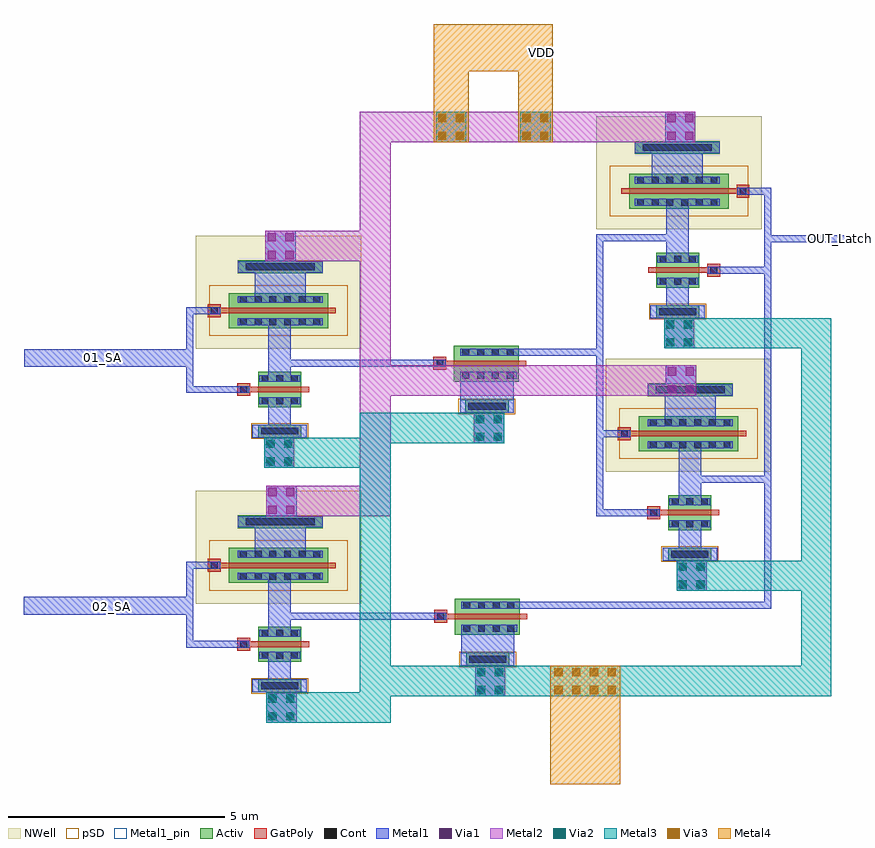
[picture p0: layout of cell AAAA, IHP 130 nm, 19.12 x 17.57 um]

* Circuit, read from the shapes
.subckt AAAA 01_SA 02_SA OUT_Latch VDD VSS
XM1 n1 02_SA VSS VSS sg13_lv_nmos w=1u l=0.13u
XM2 n2 01_SA VSS VSS sg13_lv_nmos w=1u l=0.13u
XM3 n3 n2 VSS VSS sg13_lv_nmos w=1.5u l=0.13u
XM4 OUT_Latch n1 VSS VSS sg13_lv_nmos w=1.5u l=0.13u
XM5 n3 OUT_Latch VSS VSS sg13_lv_nmos w=1u l=0.13u
XM6 OUT_Latch n3 VSS VSS sg13_lv_nmos w=1u l=0.13u
XM7 VDD 02_SA n1 VDD sg13_lv_pmos w=2.3u l=0.13u
XM8 VDD 01_SA n2 VDD sg13_lv_pmos w=2.3u l=0.13u
XM9 VDD OUT_Latch n3 VDD sg13_lv_pmos w=2.3u l=0.13u
XM10 VDD n3 OUT_Latch VDD sg13_lv_pmos w=2.3u l=0.13u
.ends

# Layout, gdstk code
from math import pi, radians
import gdstk
lib = gdstk.Library(unit=1e-6, precision=1e-09)
def R(c, l, rs):  # rectangles x0, y0, x1, y1
    for r in rs: c.add(gdstk.rectangle(r[:2], r[2:], *l))
def A(c, l, x, y, w, h, nx, ny, dx, dy):  # array of equal rectangles
    R(c, l, [(x+i*dx, y+j*dy, x+i*dx+w, y+j*dy+h) for i in range(nx) for j in range(ny)])
Activ = (1, 0)
GatPoly = (5, 0)
Cont = (6, 0)
Metal1 = (8, 0)
Metal1_pin = (8, 2)
Metal2 = (10, 0)
pSD = (14, 0)
Via1 = (19, 0)
Via2 = (29, 0)
Metal3 = (30, 0)
NWell = (31, 0)
Via3 = (49, 0)
Metal4 = (50, 0)

inv_cell = lib.new_cell('INV_CELL')
R(inv_cell, Activ, [(-2.1,2.04,-1.29,4.34), (-0.835,2.17,-0.535,4.13), (-0.835,2.17,-0.535,4.13), (-4.63,2.66,-4.33,3.66), (-3.925,2.66,-3.115,3.66)])
R(inv_cell, GatPoly, [(-1.76,1.86,-1.63,4.52), (-3.585,2.48,-3.455,3.84), (-3.67,3.84,-3.37,4.14), (-1.845,4.52,-1.545,4.82)])
A(inv_cell, Cont, -2.03, 2.22, 0.16, 0.16, 1, 4, 0, 0.34)
A(inv_cell, Cont, -1.52, 2.22, 0.16, 0.16, 1, 4, 0, 0.34)
A(inv_cell, Cont, -3.855, 2.74, 0.16, 0.16, 1, 3, 0, 0.34)
A(inv_cell, Cont, -3.345, 2.74, 0.16, 0.16, 1, 3, 0, 0.34)
A(inv_cell, Cont, -2.03, 3.24, 0.16, 0.16, 1, 3, 0, 0.34)
A(inv_cell, Cont, -1.52, 3.24, 0.16, 0.16, 1, 3, 0, 0.34)
R(inv_cell, Cont, [(-2.03,2.22,-1.87,2.38), (-1.52,2.22,-1.36,2.38), (-0.765,2.35,-0.605,3.95), (-0.765,2.35,-0.605,3.95), (-4.56,2.73,-4.4,3.59), (-3.855,3.42,-3.695,3.58), (-3.345,3.42,-3.185,3.58), (-3.6,3.91,-3.44,4.07), (-1.775,4.59,-1.615,4.75)])
R(inv_cell, Metal1, [(-2.03,2.17,-1.87,3.24), (-1.52,2.17,-1.36,3.24), (-0.815,2.17,-0.555,4.13), (-0.815,2.17,-0.555,4.13), (-4.63,2.53,-4.33,3.79), (-1.36,2.56,-0.815,3.74), (-3.855,2.69,-3.695,3.63), (-3.345,2.69,-3.185,3.63), (-4.33,2.9,-3.855,3.42), (-3.185,2.9,-2.03,3.42), (-2.03,3.19,-1.87,4.13), (-1.52,3.19,-1.36,4.13), (-3.6,3.86,-3.44,5.32), (-1.775,4.54,-1.615,5.32), (-3.6,5.16,-1.775,5.32)])
R(inv_cell, Metal1_pin, [(-4.63,2.53,-4.33,3.79)])
R(inv_cell, pSD, [(-2.28,1.59,-1.11,4.79), (-4.66,2.5,-4.3,3.82)])
R(inv_cell, NWell, [(-2.58,1.28,0.035,5.1)])

nmos_switch = lib.new_cell('nmos_switch')
R(nmos_switch, Activ, [(-1.115,-0.12,-0.285,1.38), (-1.835,0.115,-1.535,1.115)])
R(nmos_switch, GatPoly, [(-0.755,-0.3,-0.625,1.56), (-0.84,1.55,-0.54,1.85)])
A(nmos_switch, Cont, -1.045, 0, 0.16, 0.16, 1, 4, 0, 0.34)
A(nmos_switch, Cont, -0.515, 0, 0.16, 0.16, 1, 4, 0, 0.34)
R(nmos_switch, Cont, [(-1.765,0.185,-1.605,1.045), (-1.045,1.02,-0.885,1.18), (-0.515,1.02,-0.355,1.18), (-0.77,1.62,-0.61,1.78)])
R(nmos_switch, Metal1, [(-1.045,-0.07,-0.885,1.23), (-0.515,-0.07,-0.355,1.23), (-1.835,0,-1.535,1.235), (-1.535,0,-1.045,1.23), (-0.77,1.57,-0.61,5.165)])
R(nmos_switch, Metal1_pin, [(-1.835,0,-1.535,1.235)])
R(nmos_switch, pSD, [(-1.865,-0.045,-1.505,1.275)])

sr_latch = lib.new_cell('SR_LATCH')
R(sr_latch, Metal1, [(0.72,-5.005,1.42,-4.305), (0.72,-5.005,1.42,-4.305), (5.545,-4.395,6.245,-3.695), (5.545,-4.395,6.245,-3.695), (6.525,-2.375,12.39,-2.215), (12.23,-2.375,12.39,5.375), (10.205,-1.96,10.905,-1.26), (10.205,-1.96,10.905,-1.26), (0.72,-0.23,1.42,0.47), (0.72,-0.23,1.42,0.47), (10.77,0.545,12.28,0.705), (0.67,0.885,1.37,1.585), (0.67,0.885,1.37,1.585), (5.515,1.455,6.215,2.155), (5.515,1.455,6.215,2.155), (8.35,1.64,8.51,6.285), (9.955,2.555,10.655,3.255), (9.955,2.555,10.655,3.255), (6.5,3.475,8.35,3.635), (6.5,3.475,8.35,3.635), (9.915,3.645,10.615,4.345), (9.915,3.645,10.615,4.345), (0.7,5.66,1.4,6.36), (0.7,5.66,1.4,6.36), (8.46,6.125,9.97,6.285), (9.94,8.415,10.64,9.115), (9.94,8.415,10.64,9.115)])
R(sr_latch, Metal2, [(0.72,-5.005,1.42,-4.305), (0.72,-5.005,1.42,-4.305), (5.545,-4.395,6.245,-3.695), (5.545,-4.395,6.245,-3.695), (10.205,-1.96,10.905,-1.26), (10.205,-1.96,10.905,-1.26), (0.72,-0.23,1.42,0.47), (0.72,-0.23,3.6,0.47), (2.875,-0.23,3.6,9.115), (0.67,0.885,1.37,1.585), (0.67,0.885,1.37,1.585), (5.515,1.455,6.215,2.155), (5.515,1.455,6.215,2.155), (3.6,2.555,10.655,3.255), (9.955,2.555,10.655,3.255), (9.915,3.645,10.615,4.345), (9.915,3.645,10.615,4.345), (0.7,5.66,1.4,6.36), (0.7,5.66,3.6,6.36), (2.93,8.415,10.64,9.115), (9.94,8.415,10.64,9.115)])
R(sr_latch, Via1, [(0.77,-4.955,0.96,-4.765), (0.77,-4.955,0.96,-4.765), (1.18,-4.955,1.37,-4.765), (1.18,-4.955,1.37,-4.765), (0.77,-4.545,0.96,-4.355), (0.77,-4.545,0.96,-4.355), (1.18,-4.545,1.37,-4.355), (1.18,-4.545,1.37,-4.355), (5.595,-4.345,5.785,-4.155), (5.595,-4.345,5.785,-4.155), (6.005,-4.345,6.195,-4.155), (6.005,-4.345,6.195,-4.155), (5.595,-3.935,5.785,-3.745), (5.595,-3.935,5.785,-3.745), (6.005,-3.935,6.195,-3.745), (6.005,-3.935,6.195,-3.745), (10.255,-1.91,10.445,-1.72), (10.255,-1.91,10.445,-1.72), (10.665,-1.91,10.855,-1.72), (10.665,-1.91,10.855,-1.72), (10.255,-1.5,10.445,-1.31), (10.255,-1.5,10.445,-1.31), (10.665,-1.5,10.855,-1.31), (10.665,-1.5,10.855,-1.31), (0.77,-0.18,0.96,0.01), (0.77,-0.18,0.96,0.01), (1.18,-0.18,1.37,0.01), (1.18,-0.18,1.37,0.01), (0.77,0.23,0.96,0.42), (0.77,0.23,0.96,0.42), (1.18,0.23,1.37,0.42), (1.18,0.23,1.37,0.42), (0.72,0.935,0.91,1.125), (0.72,0.935,0.91,1.125), (1.13,0.935,1.32,1.125), (1.13,0.935,1.32,1.125), (0.72,1.345,0.91,1.535), (0.72,1.345,0.91,1.535), (1.13,1.345,1.32,1.535), (1.13,1.345,1.32,1.535), (5.565,1.505,5.755,1.695), (5.565,1.505,5.755,1.695), (5.975,1.505,6.165,1.695), (5.975,1.505,6.165,1.695), (5.565,1.915,5.755,2.105), (5.565,1.915,5.755,2.105), (5.975,1.915,6.165,2.105), (5.975,1.915,6.165,2.105), (10.005,2.605,10.195,2.795), (10.005,2.605,10.195,2.795), (10.415,2.605,10.605,2.795), (10.415,2.605,10.605,2.795), (10.005,3.015,10.195,3.205), (10.005,3.015,10.195,3.205), (10.415,3.015,10.605,3.205), (10.415,3.015,10.605,3.205), (9.965,3.695,10.155,3.885), (9.965,3.695,10.155,3.885), (10.375,3.695,10.565,3.885), (10.375,3.695,10.565,3.885), (9.965,4.105,10.155,4.295), (9.965,4.105,10.155,4.295), (10.375,4.105,10.565,4.295), (10.375,4.105,10.565,4.295), (0.75,5.71,0.94,5.9), (0.75,5.71,0.94,5.9), (1.16,5.71,1.35,5.9), (1.16,5.71,1.35,5.9), (0.75,6.12,0.94,6.31), (1.16,6.12,1.35,6.31), (1.16,6.12,1.35,6.31), (9.99,8.465,10.18,8.655), (9.99,8.465,10.18,8.655), (10.4,8.465,10.59,8.655), (10.4,8.465,10.59,8.655), (9.99,8.875,10.18,9.065), (9.99,8.875,10.18,9.065), (10.4,8.875,10.59,9.065), (10.4,8.875,10.59,9.065)])
R(sr_latch, Via2, [(0.77,-4.955,0.96,-4.765), (0.77,-4.955,0.96,-4.765), (1.18,-4.955,1.37,-4.765), (1.18,-4.955,1.37,-4.765), (0.77,-4.545,0.96,-4.355), (0.77,-4.545,0.96,-4.355), (1.18,-4.545,1.37,-4.355), (1.18,-4.545,1.37,-4.355), (5.595,-4.345,5.785,-4.155), (5.595,-4.345,5.785,-4.155), (6.005,-4.345,6.195,-4.155), (6.005,-4.345,6.195,-4.155), (5.595,-3.935,5.785,-3.745), (5.595,-3.935,5.785,-3.745), (6.005,-3.935,6.195,-3.745), (6.005,-3.935,6.195,-3.745), (10.255,-1.91,10.445,-1.72), (10.255,-1.91,10.445,-1.72), (10.665,-1.91,10.855,-1.72), (10.665,-1.91,10.855,-1.72), (10.255,-1.5,10.445,-1.31), (10.255,-1.5,10.445,-1.31), (10.665,-1.5,10.855,-1.31), (10.665,-1.5,10.855,-1.31), (0.72,0.935,0.91,1.125), (0.72,0.935,0.91,1.125), (1.13,0.935,1.32,1.125), (1.13,0.935,1.32,1.125), (0.72,1.345,0.91,1.535), (0.72,1.345,0.91,1.535), (1.13,1.345,1.32,1.535), (1.13,1.345,1.32,1.535), (5.565,1.505,5.755,1.695), (5.565,1.505,5.755,1.695), (5.975,1.505,6.165,1.695), (5.975,1.505,6.165,1.695), (5.565,1.915,5.755,2.105), (5.565,1.915,5.755,2.105), (5.975,1.915,6.165,2.105), (5.975,1.915,6.165,2.105), (9.965,3.695,10.155,3.885), (9.965,3.695,10.155,3.885), (10.375,3.695,10.565,3.885), (10.375,3.695,10.565,3.885), (9.965,4.105,10.155,4.295), (9.965,4.105,10.155,4.295), (10.375,4.105,10.565,4.295), (10.375,4.105,10.565,4.295), (4.695,8.465,4.885,8.655), (5.105,8.465,5.295,8.655), (4.695,8.875,4.885,9.065), (5.105,8.875,5.295,9.065)])
R(sr_latch, Metal3, [(0.72,-5.005,1.42,-4.305), (0.72,-5.005,3.6,-4.305), (2.88,-5.005,3.6,2.155), (3.105,-4.395,13.78,-3.695), (5.545,-4.395,6.245,-3.695), (13.09,-4.395,13.78,4.345), (10.205,-1.96,10.905,-1.26), (10.205,-1.96,13.78,-1.26), (0.67,0.885,1.37,1.585), (0.67,0.885,3.595,1.585), (2.88,1.455,6.215,2.155), (5.515,1.455,6.215,2.155), (9.915,3.645,10.615,4.345), (9.915,3.645,13.78,4.345), (4.645,8.415,5.345,9.115)])
A(sr_latch, Via3, 7.38, -4.345, 0.19, 0.19, 4, 2, 0.41, 0.41)
R(sr_latch, Via3, [(4.695,8.465,4.885,8.655), (5.105,8.465,5.295,8.655), (4.695,8.875,4.885,9.065), (5.105,8.875,5.295,9.065)])
R(sr_latch, Metal4, [(7.28,-6.425,8.9,-3.695), (4.595,8.415,5.395,11.145)])
sr_latch.add(gdstk.Reference(inv_cell, (4.19,6.215), rotation=pi/2))
sr_latch.add(gdstk.Reference(inv_cell, (4.19,0.325), rotation=pi/2))
sr_latch.add(gdstk.Reference(nmos_switch, (6.435,3.99), rotation=pi/2))
sr_latch.add(gdstk.Reference(nmos_switch, (6.455,-1.86), rotation=pi/2))
sr_latch.add(gdstk.Reference(inv_cell, (13.67,3.37), rotation=pi/2))
sr_latch.add(gdstk.Reference(inv_cell, (7.07,8.975), rotation=pi/2, x_reflection=True))
sr_latch.add(gdstk.Label('VDD', (5.195,10.57), layer=50, texttype=25))
sr_latch.add(gdstk.Label('VSS', (7.82,-5.775), layer=50, texttype=25))

aaaa = lib.new_cell('AAAA')
R(aaaa, Metal1, [(-17.955,3.3,-14.2,3.71), (-17.945,9.03,-14.2,9.44), (-0.68,11.915,1.17,12.075)])
R(aaaa, Via2, [(-6.43,14.275,-6.24,14.465), (-6.02,14.275,-5.83,14.465), (-6.43,14.685,-6.24,14.875), (-6.02,14.685,-5.83,14.875)])
R(aaaa, Metal3, [(-6.48,14.225,-5.78,14.925)])
R(aaaa, Via3, [(-6.43,14.275,-6.24,14.465), (-6.02,14.275,-5.83,14.465), (-6.43,14.685,-6.24,14.875), (-6.02,14.685,-5.83,14.875)])
R(aaaa, Metal4, [(-6.53,14.225,-5.73,16.955), (-7.675,15.86,-6.53,16.955)])
aaaa.add(gdstk.Reference(sr_latch, (-13.07,5.81)))
aaaa.add(gdstk.Label('VDD', (-5.99,16.305), layer=50, texttype=25))
aaaa.add(gdstk.Label('01_SA', (-16.135,9.25), layer=8, texttype=25))
aaaa.add(gdstk.Label('02_SA', (-15.925,3.48), layer=8, texttype=25))
aaaa.add(gdstk.Label('OUT_Latch', (0.955,11.99), layer=8, texttype=25))

lib.write_gds('AAAA.gds')
